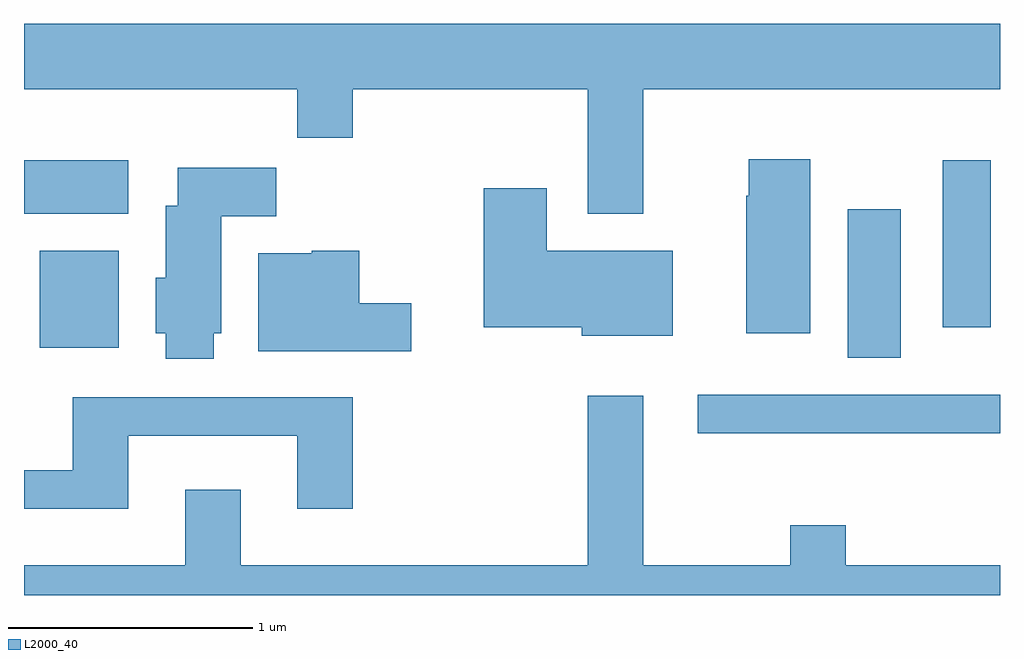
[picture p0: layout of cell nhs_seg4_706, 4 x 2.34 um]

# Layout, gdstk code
import gdstk
lib = gdstk.Library(unit=1e-6, precision=1e-09)
def R(c, l, rs):  # rectangles x0, y0, x1, y1
    for r in rs: c.add(gdstk.rectangle(r[:2], r[2:], *l))
def P(c, l, *ps):  # polygons
    for p in ps: c.add(gdstk.Polygon(p, *l))
L2000_40 = (2000, 40)

nhs_seg4_706 = lib.new_cell('nhs_seg4_706')
R(nhs_seg4_706, L2000_40, [(208.373,1306.646,209.611,1306.804), (208.986,1306.956,209.204,1307.564), (205.676,1306.996,205.999,1307.394), (209.376,1307.081,209.574,1307.764), (205.611,1307.546,206.039,1307.764)])
P(nhs_seg4_706, L2000_40, [(208.149,1308.056),(209.611,1308.056),(209.611,1308.324),(205.611,1308.324),(205.611,1308.056),(206.731,1308.056),(206.731,1307.856),(206.959,1307.856),(206.959,1308.056),(207.921,1308.056),(207.921,1307.546),(208.149,1307.546)],
  [(208.834,1307.769),(208.581,1307.769),(208.581,1307.62),(208.571,1307.62),(208.571,1307.056),(208.834,1307.056)],
  [(206.389,1307.056),(206.419,1307.056),(206.419,1307.536),(206.644,1307.536),(206.644,1307.734),(206.241,1307.734),(206.241,1307.579),(206.191,1307.579),(206.191,1307.284),(206.151,1307.284),(206.151,1307.056),(206.191,1307.056),(206.191,1306.951),(206.389,1306.951)],
  [(208.269,1307.394),(207.754,1307.394),(207.754,1307.649),(207.496,1307.649),(207.496,1307.081),(207.896,1307.081),(207.896,1307.046),(208.269,1307.046)],
  [(207.199,1307.179),(206.984,1307.179),(206.984,1307.394),(206.79,1307.394),(206.79,1307.384),(206.571,1307.384),(206.571,1306.981),(207.199,1306.981)],
  [(209.611,1306.104),(208.979,1306.104),(208.979,1306.269),(208.751,1306.269),(208.751,1306.104),(208.149,1306.104),(208.149,1306.799),(207.921,1306.799),(207.921,1306.104),(206.499,1306.104),(206.499,1306.414),(206.271,1306.414),(206.271,1306.104),(205.611,1306.104),(205.611,1305.982),(209.611,1305.982)],
  [(206.039,1306.636),(206.731,1306.636),(206.731,1306.336),(206.959,1306.336),(206.959,1306.794),(205.811,1306.794),(205.811,1306.494),(205.611,1306.494),(205.611,1306.336),(206.039,1306.336)])

lib.write_gds('nhs_seg4_706.gds')
